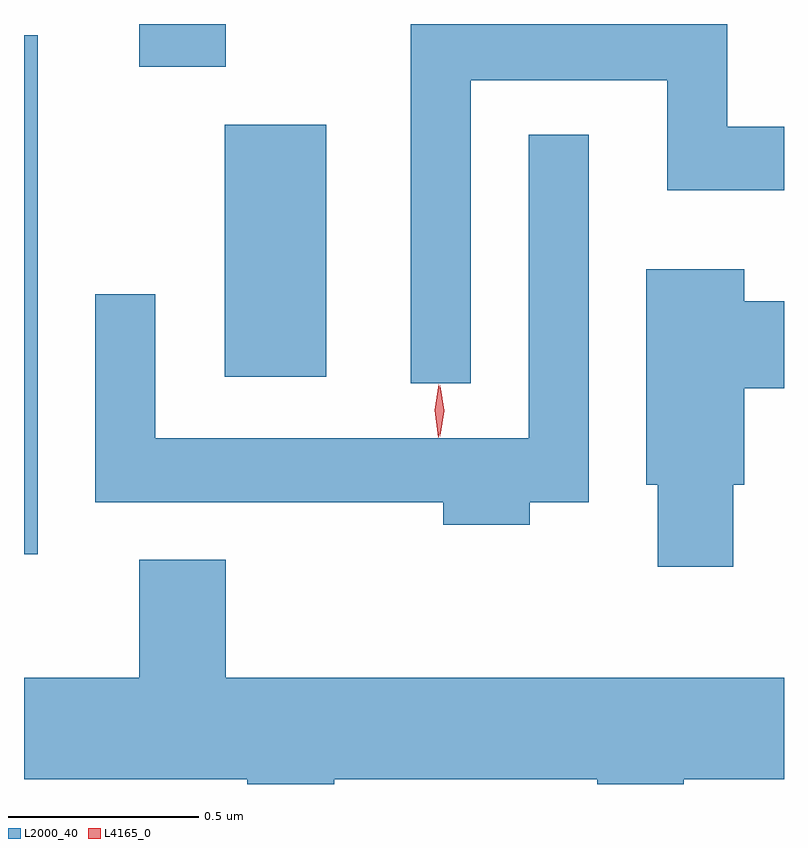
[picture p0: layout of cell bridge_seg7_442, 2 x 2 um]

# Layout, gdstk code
import gdstk
lib = gdstk.Library(unit=1e-6, precision=1e-09)
def R(c, l, rs):  # rectangles x0, y0, x1, y1
    for r in rs: c.add(gdstk.rectangle(r[:2], r[2:], *l))
def P(c, l, *ps):  # polygons
    for p in ps: c.add(gdstk.Polygon(p, *l))
L2000_40 = (2000, 40)
L4165_0 = (4165, 0)

bridge_seg7_442 = lib.new_cell('bridge_seg7_442')
R(bridge_seg7_442, L2000_40, [(1136.408,1677.168,1136.444,1678.534), (1136.936,1677.636,1137.204,1678.299), (1136.711,1678.451,1136.939,1678.564)])
P(bridge_seg7_442, L2000_40, [(1137.584,1678.416),(1138.101,1678.416),(1138.101,1678.126),(1138.408,1678.126),(1138.408,1678.294),(1138.259,1678.294),(1138.259,1678.564),(1137.426,1678.564),(1137.426,1677.618),(1137.584,1677.618)],
  [(1137.739,1677.306),(1137.894,1677.306),(1137.894,1678.273),(1137.736,1678.273),(1137.736,1677.474),(1136.754,1677.474),(1136.754,1677.853),(1136.596,1677.853),(1136.596,1677.306),(1137.511,1677.306),(1137.511,1677.246),(1137.739,1677.246)],
  [(1138.274,1677.351),(1138.304,1677.351),(1138.304,1677.606),(1138.408,1677.606),(1138.408,1677.834),(1138.304,1677.834),(1138.304,1677.919),(1138.046,1677.919),(1138.046,1677.351),(1138.076,1677.351),(1138.076,1677.136),(1138.274,1677.136)],
  [(1137.224,1676.576),(1137.916,1676.576),(1137.916,1676.564),(1138.144,1676.564),(1138.144,1676.576),(1138.408,1676.576),(1138.408,1676.844),(1136.939,1676.844),(1136.939,1677.154),(1136.711,1677.154),(1136.711,1676.844),(1136.408,1676.844),(1136.408,1676.576),(1136.996,1676.576),(1136.996,1676.564),(1137.224,1676.564)])
P(bridge_seg7_442, L4165_0, [(1137.498,1677.477),(1137.489,1677.547),(1137.499,1677.616),(1137.5,1677.616),(1137.5,1677.616),(1137.509,1677.547),(1137.499,1677.477),(1137.499,1677.477)],
  [(1137.504,1677.479),(1137.503,1677.48),(1137.494,1677.546),(1137.503,1677.612),(1137.504,1677.613),(1137.504,1677.612),(1137.514,1677.546),(1137.504,1677.48)])

lib.write_gds('bridge_seg7_442.gds')
